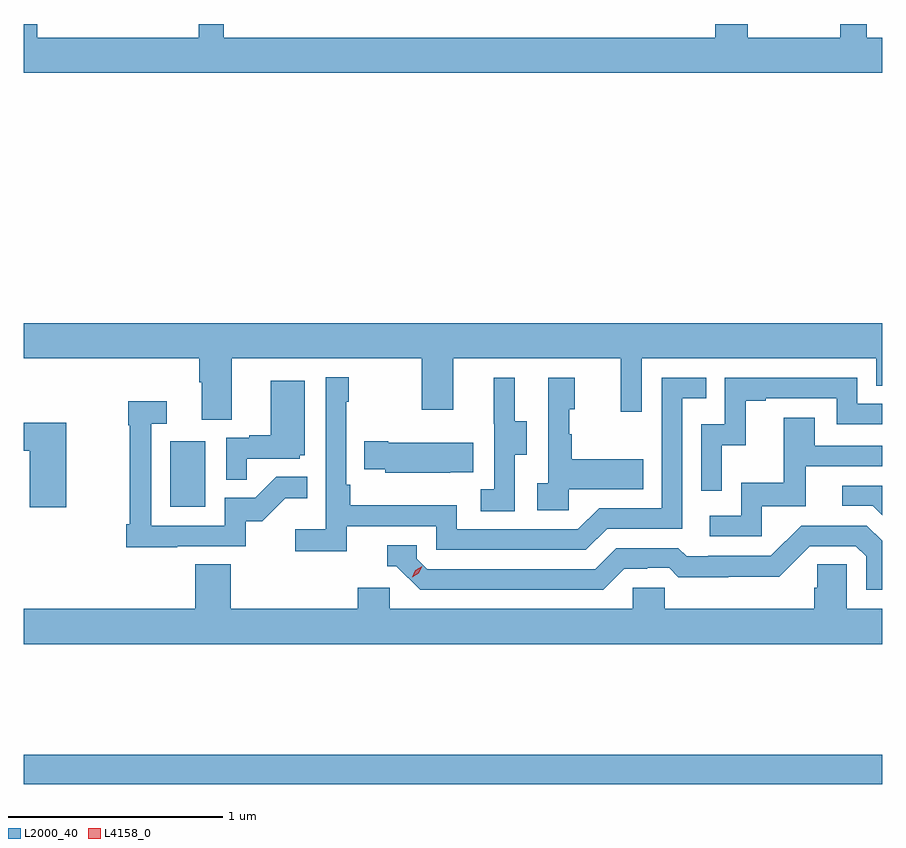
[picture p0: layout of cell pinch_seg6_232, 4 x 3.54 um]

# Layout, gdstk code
import gdstk
lib = gdstk.Library(unit=1e-6, precision=1e-09)
def R(c, l, rs):  # rectangles x0, y0, x1, y1
    for r in rs: c.add(gdstk.rectangle(r[:2], r[2:], *l))
def P(c, l, *ps):  # polygons
    for p in ps: c.add(gdstk.Polygon(p, *l))
L2000_40 = (2000, 40)
L4158_0 = (4158, 0)

pinch_seg6_232 = lib.new_cell('pinch_seg6_232')
R(pinch_seg6_232, L2000_40, [(1104.586,926.704,1108.586,926.84), (1105.268,927.996,1105.432,928.303)])
P(pinch_seg6_232, L2000_40, [(1108.586,930.184),(1108.514,930.184),(1108.514,930.247),(1108.391,930.247),(1108.391,930.184),(1107.961,930.184),(1107.961,930.247),(1107.809,930.247),(1107.809,930.184),(1105.517,930.184),(1105.517,930.247),(1105.401,930.247),(1105.401,930.184),(1104.649,930.184),(1104.649,930.247),(1104.586,930.247),(1104.586,930.02),(1108.586,930.02)],
  [(1105.555,928.688),(1106.44,928.688),(1106.44,928.449),(1106.587,928.449),(1106.587,928.688),(1107.368,928.688),(1107.368,928.44),(1107.465,928.44),(1107.465,928.688),(1108.56,928.688),(1108.56,928.561),(1108.586,928.561),(1108.586,928.852),(1104.586,928.852),(1104.586,928.688),(1105.403,928.688),(1105.403,928.576),(1105.415,928.576),(1105.415,928.402),(1105.555,928.402)],
  [(1106.09,927.906),(1106.508,927.906),(1106.508,927.795),(1107.205,927.795),(1107.304,927.894),(1107.654,927.894),(1107.654,928.503),(1107.767,928.503),(1107.767,928.599),(1107.558,928.599),(1107.558,927.99),(1107.267,927.99),(1107.168,927.891),(1106.604,927.891),(1106.604,928.003),(1106.108,928.003),(1106.108,928.099),(1106.088,928.099),(1106.088,928.487),(1106.101,928.487),(1106.101,928.6),(1105.992,928.6),(1105.992,927.892),(1105.851,927.892),(1105.851,927.79),(1106.09,927.79)],
  [(1107.84,928.283),(1107.95,928.283),(1107.95,928.491),(1108.045,928.491),(1108.045,928.503),(1108.374,928.503),(1108.374,928.38),(1108.586,928.38),(1108.586,928.476),(1108.47,928.476),(1108.47,928.599),(1107.852,928.599),(1107.852,928.38),(1107.744,928.38),(1107.744,928.071),(1107.84,928.071)],
  [(1106.874,928.24),(1106.929,928.24),(1106.929,928.395),(1106.875,928.395),(1106.875,928.597),(1106.777,928.597),(1106.777,928.383),(1106.778,928.383),(1106.778,928.079),(1106.715,928.079),(1106.715,927.976),(1106.874,927.976)],
  [(1107.126,928.079),(1107.473,928.079),(1107.473,928.219),(1107.139,928.219),(1107.139,928.334),(1107.129,928.334),(1107.129,928.452),(1107.154,928.452),(1107.154,928.597),(1107.03,928.597),(1107.03,928.106),(1106.979,928.106),(1106.979,927.981),(1107.126,927.981)],
  [(1105.625,928.221),(1105.872,928.221),(1105.872,928.236),(1105.894,928.236),(1105.894,928.585),(1105.736,928.585),(1105.736,928.33),(1105.637,928.33),(1105.637,928.317),(1105.53,928.317),(1105.53,928.123),(1105.625,928.123)],
  [(1105.301,927.813),(1105.62,927.813),(1105.62,927.93),(1105.696,927.93),(1105.803,928.037),(1105.907,928.037),(1105.907,928.136),(1105.763,928.136),(1105.665,928.038),(1105.521,928.038),(1105.521,927.909),(1105.179,927.909),(1105.179,928.383),(1105.252,928.383),(1105.252,928.489),(1105.071,928.489),(1105.071,928.376),(1105.078,928.376),(1105.078,927.916),(1105.063,927.916),(1105.063,927.808),(1105.301,927.808)],
  [(1108.026,927.999),(1108.231,927.999),(1108.231,928.185),(1108.586,928.185),(1108.586,928.281),(1108.273,928.281),(1108.273,928.411),(1108.129,928.411),(1108.129,928.108),(1107.93,928.108),(1107.93,927.954),(1107.783,927.954),(1107.783,927.858),(1108.026,927.858)],
  [(1104.784,928.387),(1104.586,928.387),(1104.586,928.258),(1104.614,928.258),(1104.614,927.993),(1104.784,927.993)],
  [(1106.573,928.157),(1106.681,928.157),(1106.681,928.294),(1106.284,928.294),(1106.284,928.302),(1106.173,928.302),(1106.173,928.172),(1106.271,928.172),(1106.271,928.154),(1106.573,928.154)],
  [(1108.586,928.095),(1108.401,928.095),(1108.401,928.002),(1108.542,928.002),(1108.586,927.958)],
  [(1107.385,927.708),(1107.492,927.708),(1107.492,927.711),(1107.595,927.711),(1107.637,927.669),(1107.87,927.669),(1107.87,927.671),(1108.106,927.671),(1108.248,927.813),(1108.464,927.813),(1108.512,927.765),(1108.512,927.609),(1108.586,927.609),(1108.586,927.838),(1108.515,927.909),(1108.209,927.909),(1108.068,927.768),(1107.775,927.768),(1107.775,927.765),(1107.676,927.765),(1107.637,927.804),(1107.348,927.804),(1107.249,927.705),(1106.466,927.705),(1106.418,927.753),(1106.418,927.816),(1106.279,927.816),(1106.279,927.72),(1106.322,927.72),(1106.433,927.609),(1107.286,927.609)],
  [(1108.586,927.52),(1108.422,927.52),(1108.422,927.728),(1108.285,927.728),(1108.285,927.618),(1108.271,927.618),(1108.271,927.52),(1107.573,927.52),(1107.573,927.618),(1107.423,927.618),(1107.423,927.52),(1106.292,927.52),(1106.292,927.618),(1106.141,927.618),(1106.141,927.52),(1105.55,927.52),(1105.55,927.728),(1105.385,927.728),(1105.385,927.52),(1104.586,927.52),(1104.586,927.356),(1108.586,927.356)])
P(pinch_seg6_232, L4158_0, [(1106.395,927.667),(1106.395,927.668),(1106.411,927.7),(1106.442,927.718),(1106.442,927.718),(1106.442,927.718),(1106.426,927.686),(1106.395,927.667)])

lib.write_gds('pinch_seg6_232.gds')
